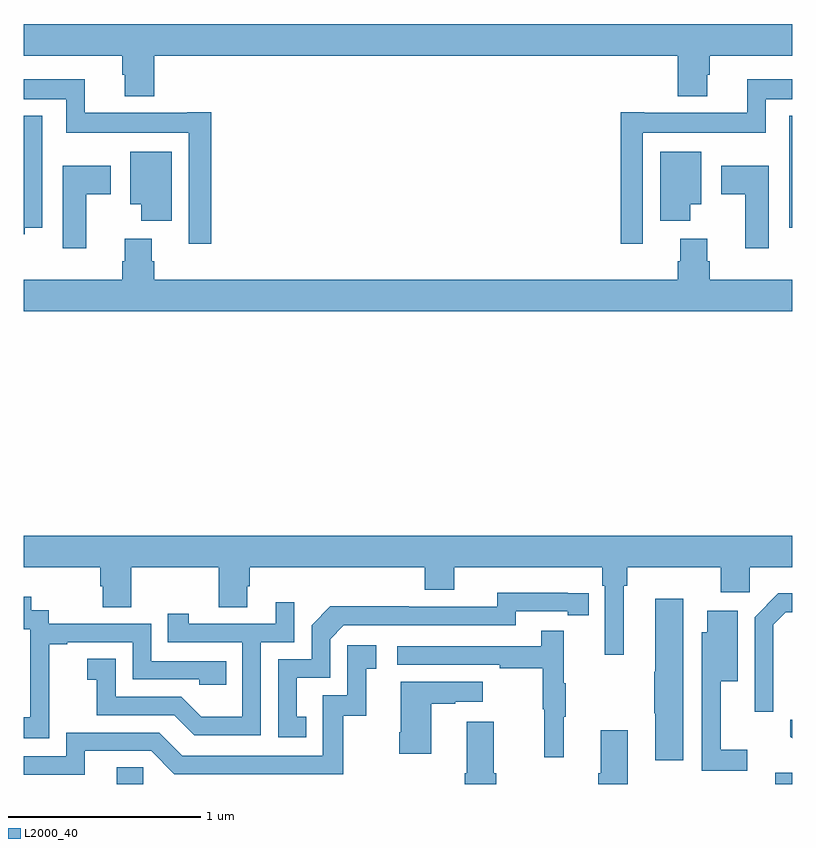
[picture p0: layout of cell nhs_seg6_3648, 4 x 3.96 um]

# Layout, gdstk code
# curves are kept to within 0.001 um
import gdstk
lib = gdstk.Library(unit=1e-6, precision=1e-09)
def R(c, l, rs):  # rectangles x0, y0, x1, y1
    for r in rs: c.add(gdstk.rectangle(r[:2], r[2:], *l))
def P(c, l, *ps):  # polygons
    for p in ps: c.add(gdstk.Polygon(p, *l))
L2000_40 = (2000, 40)

nhs_seg6_3648 = lib.new_cell('nhs_seg6_3648')
R(nhs_seg6_3648, L2000_40, [(323.483,987.5,323.622,987.587), (326.912,987.5,327,987.558), (326.985,990.396,327,990.979)])
P(nhs_seg6_3648, L2000_40, [(323.678,991.292),(326.405,991.292),(326.405,991.079),(326.557,991.079),(326.557,991.191),(326.57,991.191),(326.57,991.292),(327,991.292),(327,991.456),(323,991.456),(323,991.292),(323.513,991.292),(323.513,991.191),(323.525,991.191),(323.525,991.079),(323.678,991.079)],
  [(323.975,990.997),(323.852,990.997),(323.852,990.994),(323.318,990.994),(323.318,991.168),(323,991.168),(323,991.064),(323.22,991.064),(323.22,990.89),(323.859,990.89),(323.859,990.312),(323.975,990.312)],
  [(326.223,990.89),(326.862,990.89),(326.862,991.064),(327,991.064),(327,991.168),(326.765,991.168),(326.765,990.994),(326.23,990.994),(326.23,990.997),(326.107,990.997),(326.107,990.312),(326.223,990.312)],
  [(323.005,990.396),(323.097,990.396),(323.097,990.979),(323.001,990.979),(323.001,990.502),(323,990.502),(323,990.362),(323.005,990.362)],
  [(323.77,990.79),(323.555,990.79),(323.555,990.518),(323.612,990.518),(323.612,990.432),(323.77,990.432)],
  [(326.47,990.518),(326.527,990.518),(326.527,990.79),(326.312,990.79),(326.312,990.432),(326.47,990.432)],
  [(326.878,990.718),(326.631,990.718),(326.631,990.571),(326.756,990.571),(326.756,990.288),(326.878,990.288)],
  [(323.326,990.571),(323.452,990.571),(323.452,990.718),(323.204,990.718),(323.204,990.288),(323.326,990.288)],
  [(327,990.124),(326.57,990.124),(326.57,990.222),(326.557,990.222),(326.557,990.337),(326.417,990.337),(326.417,990.222),(326.405,990.222),(326.405,990.124),(323.678,990.124),(323.678,990.222),(323.665,990.222),(323.665,990.337),(323.525,990.337),(323.525,990.222),(323.513,990.222),(323.513,990.124),(323,990.124),(323,989.96),(327,989.96)],
  [(326.122,988.532),(326.141,988.532),(326.141,988.628),(326.627,988.628),(326.627,988.497),(326.778,988.497),(326.778,988.628),(327,988.628),(327,988.792),(323,988.792),(323,988.628),(323.399,988.628),(323.399,988.53),(323.411,988.53),(323.411,988.42),(323.559,988.42),(323.559,988.628),(324.016,988.628),(324.016,988.42),(324.163,988.42),(324.163,988.53),(324.176,988.53),(324.176,988.628),(325.088,988.628),(325.088,988.511),(325.24,988.511),(325.24,988.628),(326.012,988.628),(326.012,988.532),(326.025,988.532),(326.025,988.173),(326.122,988.173)],
  [(324.47,987.849),(324.421,987.849),(324.421,988.053),(324.594,988.053),(324.594,988.254),(324.666,988.326),(325.56,988.326),(325.56,988.398),(325.832,988.398),(325.832,988.378),(325.94,988.378),(325.94,988.494),(325.464,988.495),(325.464,988.422),(325.004,988.422),(325.004,988.424),(324.596,988.424),(324.498,988.326),(324.498,988.149),(324.324,988.149),(324.324,987.744),(324.47,987.744)],
  [(326.901,988.329),(326.967,988.395),(327,988.395),(327,988.492),(326.928,988.492),(326.805,988.369),(326.805,987.876),(326.901,987.876)],
  [(323.133,987.943),(323.132,987.943),(323.132,988.227),(323.227,988.227),(323.227,988.239),(323.568,988.239),(323.568,988.044),(323.913,988.044),(323.913,988.017),(324.053,988.017),(324.053,988.14),(323.664,988.14),(323.664,988.335),(323.13,988.335),(323.13,988.404),(323.038,988.404),(323.038,988.474),(323,988.474),(323,988.305),(323.034,988.305),(323.034,988.076),(323.033,988.076),(323.033,987.847),(323,987.847),(323,987.737),(323.133,987.737)],
  [(326.434,988.465),(326.288,988.465),(326.288,988.085),(326.281,988.085),(326.281,987.868),(326.288,987.868),(326.288,987.624),(326.434,987.624)],
  [(324.234,988.239),(324.408,988.239),(324.408,988.447),(324.311,988.447),(324.311,988.335),(323.86,988.335),(323.86,988.387),(323.749,988.387),(323.749,988.239),(324.138,988.239),(324.138,987.85),(323.924,987.85),(323.82,987.954),(323.478,987.954),(323.478,988.153),(323.331,988.153),(323.331,988.043),(323.38,988.043),(323.38,987.858),(323.783,987.858),(323.888,987.753),(324.234,987.753)],
  [(326.767,987.679),(326.627,987.679),(326.627,988.034),(326.716,988.034),(326.716,988.402),(326.558,988.402),(326.558,988.291),(326.529,988.291),(326.529,987.57),(326.767,987.57)],
  [(325.811,987.851),(325.822,987.851),(325.822,988.025),(325.811,988.025),(325.811,988.297),(325.693,988.297),(325.693,988.218),(324.945,988.218),(324.945,988.122),(325.477,988.122),(325.477,988.102),(325.701,988.102),(325.701,987.888),(325.708,987.888),(325.708,987.639),(325.811,987.639)],
  [(323.317,987.672),(323.664,987.672),(323.784,987.552),(324.664,987.552),(324.664,987.855),(324.782,987.855),(324.782,988.101),(324.835,988.101),(324.835,988.222),(324.684,988.222),(324.684,987.963),(324.555,987.963),(324.555,987.648),(323.826,987.648),(323.706,987.768),(323.22,987.768),(323.22,987.645),(323,987.645),(323,987.549),(323.317,987.549)],
  [(325.12,987.919),(325.247,987.919),(325.247,987.929),(325.39,987.929),(325.39,988.033),(324.962,988.033),(324.962,987.769),(324.955,987.769),(324.955,987.657),(325.12,987.657)],
  [(327,987.835),(326.991,987.835),(326.991,987.747),(327,987.738)],
  [(325.46,987.556),(325.447,987.556),(325.447,987.823),(325.307,987.823),(325.307,987.556),(325.295,987.556),(325.295,987.5),(325.46,987.5)],
  [(326.143,987.781),(326.003,987.781),(326.003,987.556),(325.991,987.556),(325.991,987.5),(326.143,987.5)])

lib.write_gds('nhs_seg6_3648.gds')
